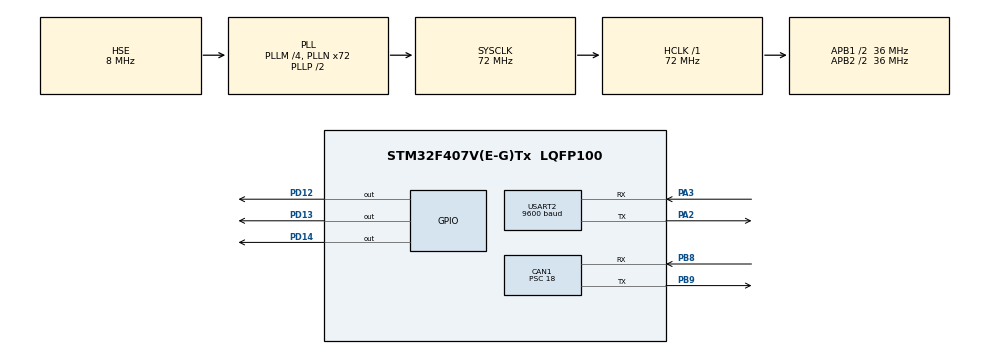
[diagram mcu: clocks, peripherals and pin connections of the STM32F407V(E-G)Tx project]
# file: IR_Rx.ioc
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CAN1.BS1=CAN_BS1_2TQ
CAN1.CalculateBaudRate=500000
CAN1.CalculateTimeBit=2000
CAN1.CalculateTimeQuantum=500.0
CAN1.Prescaler=18
Mcu.Family=STM32F4
Mcu.Name=STM32F407V(E-G)Tx
Mcu.Package=LQFP100
NVIC.CAN1_RX0_IRQn=true\:0\:0\:false\:false\:true\:true\:true\:true
NVIC.PriorityGroup=NVIC_PRIORITYGROUP_0
PA2.Mode=Asynchronous
PA2.Signal=USART2_TX
PA3.Mode=Asynchronous
PA3.Signal=USART2_RX
PB8.Mode=CAN_Activate
PB8.Signal=CAN1_RX
PB9.Mode=CAN_Activate
PB9.Signal=CAN1_TX
PD12.Signal=GPIO_Output
PD13.Signal=GPIO_Output
PD14.Signal=GPIO_Output
PH0-OSC_IN.Mode=HSE-External-Oscillator
PH0-OSC_IN.Signal=RCC_OSC_IN
PH1-OSC_OUT.Mode=HSE-External-Oscillator
PH1-OSC_OUT.Signal=RCC_OSC_OUT
ProjectManager.HeapSize=0x200
ProjectManager.StackSize=0x400
ProjectManager.TargetToolchain=STM32CubeIDE
RCC.48MHZClocksFreq_Value=20571428.57142857
RCC.AHBFreq_Value=72000000
RCC.APB1CLKDivider=RCC_HCLK_DIV2
RCC.APB1Freq_Value=36000000
RCC.APB1TimFreq_Value=72000000
RCC.APB2CLKDivider=RCC_HCLK_DIV2
RCC.APB2Freq_Value=36000000
RCC.APB2TimFreq_Value=72000000
RCC.CortexFreq_Value=72000000
RCC.HCLKFreq_Value=72000000
RCC.HSE_VALUE=8000000
RCC.HSI_VALUE=16000000
RCC.LSE_VALUE=32768
RCC.PLLM=4
RCC.PLLN=72
RCC.PLLQ=7
RCC.PLLSourceVirtual=RCC_PLLSOURCE_HSE
RCC.SYSCLKFreq_VALUE=72000000
RCC.SYSCLKSource=RCC_SYSCLKSOURCE_PLLCLK
RCC.VCOOutputFreq_Value=144000000
USART2.BaudRate=9600
USART2.VirtualMode=VM_ASYNC
board=STM32F407G-DISC1

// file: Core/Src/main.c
/* USER CODE BEGIN Header */
/**
  ******************************************************************************
  * @file           : main.c
  * @brief          : Main program body
  ******************************************************************************
  * @attention
  *
  * Copyright (c) 2025 STMicroelectronics.
  * All rights reserved.
  *
  * This software is licensed under terms that can be found in the LICENSE file
  * in the root directory of this software component.
  * If no LICENSE file comes with this software, it is provided AS-IS.
  *
  ******************************************************************************
  */
/* USER CODE END Header */
#include "main.h"

/* USER CODE BEGIN Includes */
#include <string.h>
#include <stdio.h>

/* USER CODE END Includes */

CAN_HandleTypeDef hcan1;

UART_HandleTypeDef huart2;

/* USER CODE BEGIN PV */
/* CAN Rx message container */
CAN_RxHeaderTypeDef RxHeader;
uint8_t RxData[8];
float received_temperature = 0;
float received_level = 0;
float speed_kmh = 0;
char uart_msg[50];
/* USER CODE END PV */

void SystemClock_Config(void);
static void MX_GPIO_Init(void);
static void MX_CAN1_Init(void);
static void MX_USART2_UART_Init(void);
/* USER CODE BEGIN PFP */
int __io_putchar(int ch)
{
    HAL_UART_Transmit(&huart2, (uint8_t *)&ch, 1, HAL_MAX_DELAY);
    return ch;
}

/* USER CODE END PFP */

/* USER CODE BEGIN 0 */
void HAL_CAN_RxFifo0MsgPendingCallback(CAN_HandleTypeDef *hcan)
{
    if (HAL_CAN_GetRxMessage(hcan, CAN_RX_FIFO0, &RxHeader, RxData) != HAL_OK){
        Error_Handler();
    }

        received_temperature = RxData[0];
        received_level= RxData[1];
        speed_kmh = RxData[2] << 8| RxData[3];

        sprintf(uart_msg, "%.2f,%.2f,%.2f\n", received_temperature,speed_kmh, received_level) ;
        HAL_UART_Transmit(&huart2, (uint8_t*)uart_msg, strlen(uart_msg), HAL_MAX_DELAY);
        HAL_GPIO_TogglePin(GPIOD, GPIO_PIN_14);

}

/* USER CODE END 0 */

int main(void)
{

  /* MCU Configuration--------------------------------------------------------*/

  /* Reset of all peripherals, Initializes the Flash interface and the Systick. */
  HAL_Init();

  /* Configure the system clock */
  SystemClock_Config();

  /* Initialize all configured peripherals */
  MX_GPIO_Init();
  MX_CAN1_Init();
  MX_USART2_UART_Init();
  /* USER CODE BEGIN 2 */
  /* Start CAN */
  if (HAL_CAN_Start(&hcan1) != HAL_OK)
      Error_Handler();

    if (HAL_CAN_ActivateNotification(&hcan1, CAN_IT_RX_FIFO0_MSG_PENDING) != HAL_OK)
      Error_Handler();

    printf("CAN Receiver Ready...\r\n");

  /* USER CODE END 2 */

  /* Infinite loop */
  while (1)
  {

    /* USER CODE BEGIN 3 */
	  HAL_Delay(1000);
  }

  /* USER CODE END 3 */
}

void SystemClock_Config(void)
{
  RCC_OscInitTypeDef RCC_OscInitStruct = {0};
  RCC_ClkInitTypeDef RCC_ClkInitStruct = {0};

  /** Configure the main internal regulator output voltage
  */
  __HAL_RCC_PWR_CLK_ENABLE();
  __HAL_PWR_VOLTAGESCALING_CONFIG(PWR_REGULATOR_VOLTAGE_SCALE1);

  /** Initializes the RCC Oscillators according to the specified parameters
  * in the RCC_OscInitTypeDef structure.
  */
  RCC_OscInitStruct.OscillatorType = RCC_OSCILLATORTYPE_HSE;
  RCC_OscInitStruct.HSEState = RCC_HSE_ON;
  RCC_OscInitStruct.PLL.PLLState = RCC_PLL_ON;
  RCC_OscInitStruct.PLL.PLLSource = RCC_PLLSOURCE_HSE;
  RCC_OscInitStruct.PLL.PLLM = 4;
  RCC_OscInitStruct.PLL.PLLN = 72;
  RCC_OscInitStruct.PLL.PLLP = RCC_PLLP_DIV2;
  RCC_OscInitStruct.PLL.PLLQ = 7;
  if (HAL_RCC_OscConfig(&RCC_OscInitStruct) != HAL_OK)
  {
    Error_Handler();
  }

  /** Initializes the CPU, AHB and APB buses clocks
  */
  RCC_ClkInitStruct.ClockType = RCC_CLOCKTYPE_HCLK|RCC_CLOCKTYPE_SYSCLK
                              |RCC_CLOCKTYPE_PCLK1|RCC_CLOCKTYPE_PCLK2;
  RCC_ClkInitStruct.SYSCLKSource = RCC_SYSCLKSOURCE_PLLCLK;
  RCC_ClkInitStruct.AHBCLKDivider = RCC_SYSCLK_DIV1;
  RCC_ClkInitStruct.APB1CLKDivider = RCC_HCLK_DIV2;
  RCC_ClkInitStruct.APB2CLKDivider = RCC_HCLK_DIV2;

  if (HAL_RCC_ClockConfig(&RCC_ClkInitStruct, FLASH_LATENCY_2) != HAL_OK)
  {
    Error_Handler();
  }
}

static void MX_CAN1_Init(void)
{

  hcan1.Instance = CAN1;
  hcan1.Init.Prescaler = 18;
  hcan1.Init.Mode = CAN_MODE_NORMAL;
  hcan1.Init.SyncJumpWidth = CAN_SJW_1TQ;
  hcan1.Init.TimeSeg1 = CAN_BS1_2TQ;
  hcan1.Init.TimeSeg2 = CAN_BS2_1TQ;
  hcan1.Init.TimeTriggeredMode = DISABLE;
  hcan1.Init.AutoBusOff = DISABLE;
  hcan1.Init.AutoWakeUp = DISABLE;
  hcan1.Init.AutoRetransmission = DISABLE;
  hcan1.Init.ReceiveFifoLocked = DISABLE;
  hcan1.Init.TransmitFifoPriority = DISABLE;
  if (HAL_CAN_Init(&hcan1) != HAL_OK)
  {
    Error_Handler();
  }
  /* USER CODE BEGIN CAN1_Init 2 */
   CAN_FilterTypeDef canFilter;
   canFilter.FilterActivation = ENABLE;
   canFilter.FilterBank = 0;
   canFilter.FilterFIFOAssignment = CAN_FILTER_FIFO0;
   canFilter.FilterIdHigh = 0x0000;
   canFilter.FilterIdLow = 0x0000;
   canFilter.FilterMaskIdHigh = 0x0000; // Filter only 0x321
   canFilter.FilterMaskIdLow = 0x0000;
   canFilter.FilterMode = CAN_FILTERMODE_IDMASK;
   canFilter.FilterScale = CAN_FILTERSCALE_32BIT;

   if (HAL_CAN_ConfigFilter(&hcan1, &canFilter) != HAL_OK)
     Error_Handler();

  /* USER CODE END CAN1_Init 2 */

}

static void MX_USART2_UART_Init(void)
{

  huart2.Instance = USART2;
  huart2.Init.BaudRate = 9600;
  huart2.Init.WordLength = UART_WORDLENGTH_8B;
  huart2.Init.StopBits = UART_STOPBITS_1;
  huart2.Init.Parity = UART_PARITY_NONE;
  huart2.Init.Mode = UART_MODE_TX_RX;
  huart2.Init.HwFlowCtl = UART_HWCONTROL_NONE;
  huart2.Init.OverSampling = UART_OVERSAMPLING_16;
  if (HAL_UART_Init(&huart2) != HAL_OK)
  {
    Error_Handler();
  }

}

static void MX_GPIO_Init(void)
{
  GPIO_InitTypeDef GPIO_InitStruct = {0};

  /* GPIO Ports Clock Enable */
  __HAL_RCC_GPIOH_CLK_ENABLE();
  __HAL_RCC_GPIOA_CLK_ENABLE();
  __HAL_RCC_GPIOD_CLK_ENABLE();
  __HAL_RCC_GPIOB_CLK_ENABLE();

  /*Configure GPIO pin Output Level */
  HAL_GPIO_WritePin(GPIOD, GPIO_PIN_12|GPIO_PIN_13|GPIO_PIN_14, GPIO_PIN_RESET);

  /*Configure GPIO pins : PD12 PD13 PD14 */
  GPIO_InitStruct.Pin = GPIO_PIN_12|GPIO_PIN_13|GPIO_PIN_14;
  GPIO_InitStruct.Mode = GPIO_MODE_OUTPUT_PP;
  GPIO_InitStruct.Pull = GPIO_NOPULL;
  GPIO_InitStruct.Speed = GPIO_SPEED_FREQ_LOW;
  HAL_GPIO_Init(GPIOD, &GPIO_InitStruct);

}

void Error_Handler(void)
{
  /* USER CODE BEGIN Error_Handler_Debug */
  /* User can add his own implementation to report the HAL error return state */
  __disable_irq();
  while (1)
  {
	  HAL_GPIO_WritePin(GPIOD, GPIO_PIN_13, GPIO_PIN_SET);
	  HAL_Delay(500);

  }
  /* USER CODE END Error_Handler_Debug */
}
